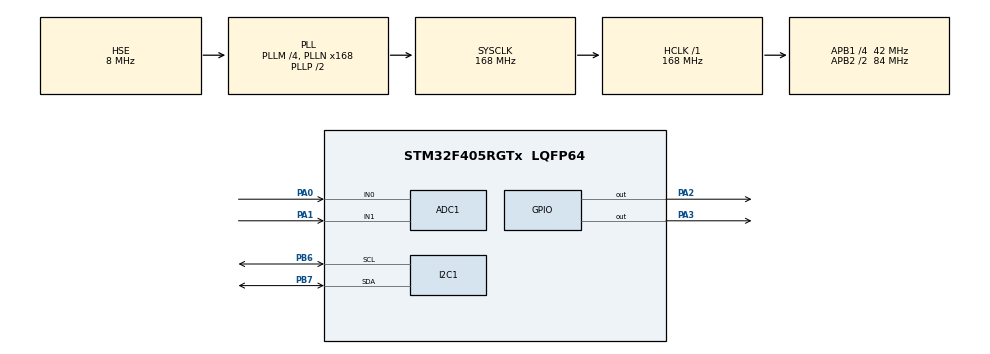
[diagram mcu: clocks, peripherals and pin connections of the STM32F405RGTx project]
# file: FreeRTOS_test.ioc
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ADC1.Channel-0\#ChannelRegularConversion=ADC_CHANNEL_0
ADC1.Channel-4\#ChannelRegularConversion=ADC_CHANNEL_1
ADC1.ContinuousConvMode=ENABLE
ADC1.DMAContinuousRequests=ENABLE
ADC1.EOCSelection=ADC_EOC_SEQ_CONV
ADC1.InjNumberOfConversion=0
ADC1.NbrOfConversion=2
ADC1.NbrOfConversionFlag=1
ADC1.Rank-0\#ChannelRegularConversion=1
ADC1.Rank-4\#ChannelRegularConversion=2
ADC1.SamplingTime-0\#ChannelRegularConversion=ADC_SAMPLETIME_3CYCLES
ADC1.SamplingTime-4\#ChannelRegularConversion=ADC_SAMPLETIME_3CYCLES
ADC1.master=1
Dma.ADC1.2.Direction=DMA_PERIPH_TO_MEMORY
Dma.ADC1.2.FIFOMode=DMA_FIFOMODE_DISABLE
Dma.ADC1.2.Instance=DMA2_Stream0
Dma.ADC1.2.MemDataAlignment=DMA_MDATAALIGN_WORD
Dma.ADC1.2.MemInc=DMA_MINC_ENABLE
Dma.ADC1.2.Mode=DMA_CIRCULAR
Dma.ADC1.2.PeriphDataAlignment=DMA_PDATAALIGN_WORD
Dma.ADC1.2.PeriphInc=DMA_PINC_DISABLE
Dma.ADC1.2.Priority=DMA_PRIORITY_LOW
Dma.I2C1_RX.0.Direction=DMA_PERIPH_TO_MEMORY
Dma.I2C1_RX.0.FIFOMode=DMA_FIFOMODE_DISABLE
Dma.I2C1_RX.0.Instance=DMA1_Stream0
Dma.I2C1_RX.0.MemDataAlignment=DMA_MDATAALIGN_BYTE
Dma.I2C1_RX.0.MemInc=DMA_MINC_ENABLE
Dma.I2C1_RX.0.Mode=DMA_NORMAL
Dma.I2C1_RX.0.PeriphDataAlignment=DMA_PDATAALIGN_BYTE
Dma.I2C1_RX.0.PeriphInc=DMA_PINC_DISABLE
Dma.I2C1_RX.0.Priority=DMA_PRIORITY_LOW
Dma.I2C1_TX.1.Direction=DMA_MEMORY_TO_PERIPH
Dma.I2C1_TX.1.FIFOMode=DMA_FIFOMODE_DISABLE
Dma.I2C1_TX.1.Instance=DMA1_Stream6
Dma.I2C1_TX.1.MemDataAlignment=DMA_MDATAALIGN_BYTE
Dma.I2C1_TX.1.MemInc=DMA_MINC_ENABLE
Dma.I2C1_TX.1.Mode=DMA_NORMAL
Dma.I2C1_TX.1.PeriphDataAlignment=DMA_PDATAALIGN_BYTE
Dma.I2C1_TX.1.PeriphInc=DMA_PINC_DISABLE
Dma.I2C1_TX.1.Priority=DMA_PRIORITY_LOW
Dma.Request0=I2C1_RX
Dma.Request1=I2C1_TX
Dma.Request2=ADC1
FREERTOS.Tasks01=YKC_OLED,0,128,StartDefaultTask,Default,NULL,Dynamic,NULL,NULL;HJY_OLED,-3,128,StartTask02,Default,NULL,Dynamic,NULL,NULL
I2C1.I2C_Mode=I2C_Fast
Mcu.Family=STM32F4
Mcu.Name=STM32F405RGTx
Mcu.Package=LQFP64
NVIC.ADC_IRQn=true\:5\:0\:false\:false\:true\:true\:true\:true
NVIC.DMA1_Stream0_IRQn=true\:5\:0\:false\:false\:true\:true\:false\:true
NVIC.DMA1_Stream6_IRQn=true\:5\:0\:false\:false\:true\:true\:false\:true
NVIC.DMA2_Stream0_IRQn=true\:5\:0\:false\:false\:true\:true\:false\:true
NVIC.I2C1_ER_IRQn=true\:5\:0\:false\:false\:true\:true\:true\:true
NVIC.I2C1_EV_IRQn=true\:5\:0\:false\:false\:true\:true\:true\:true
NVIC.PriorityGroup=NVIC_PRIORITYGROUP_4
NVIC.TIM8_TRG_COM_TIM14_IRQn=true\:0\:0\:false\:false\:true\:false\:false\:true
NVIC.TimeBase=TIM8_TRG_COM_TIM14_IRQn
NVIC.TimeBaseIP=TIM14
PA0-WKUP.Signal=ADCx_IN0
PA1.Signal=ADCx_IN1
PA13.Mode=Serial_Wire
PA13.Signal=SYS_JTMS-SWDIO
PA14.Mode=Serial_Wire
PA14.Signal=SYS_JTCK-SWCLK
PA2.Signal=GPIO_Output
PA3.Signal=GPIO_Output
PB6.Mode=I2C
PB6.Signal=I2C1_SCL
PB7.Mode=I2C
PB7.Signal=I2C1_SDA
PH0-OSC_IN.Mode=HSE-External-Oscillator
PH0-OSC_IN.Signal=RCC_OSC_IN
PH1-OSC_OUT.Mode=HSE-External-Oscillator
PH1-OSC_OUT.Signal=RCC_OSC_OUT
ProjectManager.HeapSize=0x200
ProjectManager.StackSize=0x400
ProjectManager.TargetToolchain=MDK-ARM V5
RCC.48MHZClocksFreq_Value=84000000
RCC.AHBFreq_Value=168000000
RCC.APB1CLKDivider=RCC_HCLK_DIV4
RCC.APB1Freq_Value=42000000
RCC.APB1TimFreq_Value=84000000
RCC.APB2CLKDivider=RCC_HCLK_DIV2
RCC.APB2Freq_Value=84000000
RCC.APB2TimFreq_Value=168000000
RCC.CortexFreq_Value=168000000
RCC.HCLKFreq_Value=168000000
RCC.HSE_VALUE=8000000
RCC.HSI_VALUE=16000000
RCC.LSE_VALUE=32768
RCC.PLLM=4
RCC.PLLN=168
RCC.PLLSourceVirtual=RCC_PLLSOURCE_HSE
RCC.SYSCLKFreq_VALUE=168000000
RCC.SYSCLKSource=RCC_SYSCLKSOURCE_PLLCLK
RCC.VCOOutputFreq_Value=336000000
SH.ADCx_IN0.0=ADC1_IN0,IN0
SH.ADCx_IN1.0=ADC1_IN1,IN1
VP_FREERTOS_VS_CMSIS_V1.Mode=CMSIS_V1
VP_SYS_VS_tim14.Mode=TIM14
board=custom

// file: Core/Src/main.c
/* USER CODE BEGIN Header */
/**
  ******************************************************************************
  * @file           : main.c
  * @brief          : Main program body
  ******************************************************************************
  * @attention
  *
  * <h2><center>&copy; Copyright (c) 2021 STMicroelectronics.
  * All rights reserved.</center></h2>
  *
  * This software component is licensed by ST under Ultimate Liberty license
  * SLA0044, the "License"; You may not use this file except in compliance with
  * the License. You may obtain a copy of the License at:
  *                             www.st.com/SLA0044
  *
  ******************************************************************************
  */
/* USER CODE END Header */
#include "main.h"
#include "cmsis_os.h"
#include "adc.h"
#include "dma.h"
#include "i2c.h"
#include "gpio.h"

/* USER CODE BEGIN Includes */
#include "oled.h"
#include "bmp.h"
/* USER CODE END Includes */

/* USER CODE BEGIN PTD */
uint32_t AD_TwoChanel_value[2];
extern uint8_t OLED_1_data[8][128];
/* USER CODE END PTD */

void SystemClock_Config(void);
void MX_FREERTOS_Init(void);

int main(void)
{

  /* MCU Configuration--------------------------------------------------------*/

  /* Reset of all peripherals, Initializes the Flash interface and the Systick. */
  HAL_Init();

  /* Configure the system clock */
  SystemClock_Config();

  /* Initialize all configured peripherals */
  MX_GPIO_Init();
  MX_DMA_Init();
  MX_ADC1_Init();
  MX_I2C1_Init();
  /* USER CODE BEGIN 2 */
	OLED_Init();
	//HAL_ADC_Start_DMA(&hadc1,(uint32_t*)&AD_TwoChanel_value,2);
  /* USER CODE END 2 */

  /* Call init function for freertos objects (in freertos.c) */
  MX_FREERTOS_Init();
  /* Start scheduler */
  osKernelStart();

  /* We should never get here as control is now taken by the scheduler */
  /* Infinite loop */
  while (1)
  {

  }
}

void SystemClock_Config(void)
{
  RCC_OscInitTypeDef RCC_OscInitStruct = {0};
  RCC_ClkInitTypeDef RCC_ClkInitStruct = {0};

  /** Configure the main internal regulator output voltage
  */
  __HAL_RCC_PWR_CLK_ENABLE();
  __HAL_PWR_VOLTAGESCALING_CONFIG(PWR_REGULATOR_VOLTAGE_SCALE1);
  /** Initializes the RCC Oscillators according to the specified parameters
  * in the RCC_OscInitTypeDef structure.
  */
  RCC_OscInitStruct.OscillatorType = RCC_OSCILLATORTYPE_HSE;
  RCC_OscInitStruct.HSEState = RCC_HSE_ON;
  RCC_OscInitStruct.PLL.PLLState = RCC_PLL_ON;
  RCC_OscInitStruct.PLL.PLLSource = RCC_PLLSOURCE_HSE;
  RCC_OscInitStruct.PLL.PLLM = 4;
  RCC_OscInitStruct.PLL.PLLN = 168;
  RCC_OscInitStruct.PLL.PLLP = RCC_PLLP_DIV2;
  RCC_OscInitStruct.PLL.PLLQ = 4;
  if (HAL_RCC_OscConfig(&RCC_OscInitStruct) != HAL_OK)
  {
    Error_Handler();
  }
  /** Initializes the CPU, AHB and APB buses clocks
  */
  RCC_ClkInitStruct.ClockType = RCC_CLOCKTYPE_HCLK|RCC_CLOCKTYPE_SYSCLK
                              |RCC_CLOCKTYPE_PCLK1|RCC_CLOCKTYPE_PCLK2;
  RCC_ClkInitStruct.SYSCLKSource = RCC_SYSCLKSOURCE_PLLCLK;
  RCC_ClkInitStruct.AHBCLKDivider = RCC_SYSCLK_DIV1;
  RCC_ClkInitStruct.APB1CLKDivider = RCC_HCLK_DIV4;
  RCC_ClkInitStruct.APB2CLKDivider = RCC_HCLK_DIV2;

  if (HAL_RCC_ClockConfig(&RCC_ClkInitStruct, FLASH_LATENCY_5) != HAL_OK)
  {
    Error_Handler();
  }
}

 /**
  * @brief  Period elapsed callback in non blocking mode
  * @note   This function is called  when TIM14 interrupt took place, inside
  * HAL_TIM_IRQHandler(). It makes a direct call to HAL_IncTick() to increment
  * a global variable "uwTick" used as application time base.
  * @param  htim : TIM handle
  * @retval None
  */
void HAL_TIM_PeriodElapsedCallback(TIM_HandleTypeDef *htim)
{
  if (htim->Instance == TIM14) {
    HAL_IncTick();
  }
}

void Error_Handler(void)
{
  __disable_irq();
  while (1)
  {
  }
}

/************************ (C) COPYRIGHT STMicroelectronics *****END OF FILE****/

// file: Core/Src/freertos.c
/* USER CODE BEGIN Header */
/**
  ******************************************************************************
  * File Name          : freertos.c
  * Description        : Code for freertos applications
  ******************************************************************************
  * @attention
  *
  * <h2><center>&copy; Copyright (c) 2021 STMicroelectronics.
  * All rights reserved.</center></h2>
  *
  * This software component is licensed by ST under Ultimate Liberty license
  * SLA0044, the "License"; You may not use this file except in compliance with
  * the License. You may obtain a copy of the License at:
  *                             www.st.com/SLA0044
  *
  ******************************************************************************
  */
/* USER CODE END Header */

#include "FreeRTOS.h"
#include "task.h"
#include "main.h"
#include "cmsis_os.h"

/* USER CODE BEGIN Includes */
#include "oled.h"
#include "stdio.h"
#include "math.h"
/* USER CODE END Includes */

/* USER CODE BEGIN PTD */
extern uint32_t AD_TwoChanel_value[2];
extern uint8_t OLED_1_data[8][128];
/* USER CODE END PTD */

osThreadId YKC_OLEDHandle;
osThreadId HJY_OLEDHandle;
osThreadId Task_OLED_refreHandle;

void StartDefaultTask(void const * argument);
void StartTask02(void const * argument);
void StartTask_OLED_refresh(void const * argument);

void MX_FREERTOS_Init(void); /* (MISRA C 2004 rule 8.1) */

/* GetIdleTaskMemory prototype (linked to static allocation support) */
void vApplicationGetIdleTaskMemory( StaticTask_t **ppxIdleTaskTCBBuffer, StackType_t **ppxIdleTaskStackBuffer, uint32_t *pulIdleTaskStackSize );

/* USER CODE BEGIN GET_IDLE_TASK_MEMORY */
static StaticTask_t xIdleTaskTCBBuffer;
static StackType_t xIdleStack[configMINIMAL_STACK_SIZE];

void vApplicationGetIdleTaskMemory( StaticTask_t **ppxIdleTaskTCBBuffer, StackType_t **ppxIdleTaskStackBuffer, uint32_t *pulIdleTaskStackSize )
{
  *ppxIdleTaskTCBBuffer = &xIdleTaskTCBBuffer;
  *ppxIdleTaskStackBuffer = &xIdleStack[0];
  *pulIdleTaskStackSize = configMINIMAL_STACK_SIZE;
  /* place for user code */
}
/* USER CODE END GET_IDLE_TASK_MEMORY */

void MX_FREERTOS_Init(void) {

  /* Create the thread(s) */
  /* definition and creation of YKC_OLED */
  osThreadDef(YKC_OLED, StartDefaultTask, osPriorityNormal, 0, 128);
  YKC_OLEDHandle = osThreadCreate(osThread(YKC_OLED), NULL);

  /* definition and creation of HJY_OLED */
  osThreadDef(HJY_OLED, StartTask02, osPriorityIdle, 0, 128);
  HJY_OLEDHandle = osThreadCreate(osThread(HJY_OLED), NULL);

 /* definition and creation of Task_OLED_refre */
  osThreadDef(Task_OLED_refre, StartTask_OLED_refresh, osPriorityLow, 0, 128);
  Task_OLED_refreHandle = osThreadCreate(osThread(Task_OLED_refre), NULL);

}

void OLED_ShowPixel(uint8_t x,uint8_t y)
{
	OLED_1_data[y/8][x]|=0x01<<(y%8);
}

//x0负责上下，y0负责左右
void draw_circle(uint8_t x0,uint8_t y0,uint8_t r) //圆心(x0,y0),半径r
{
		uint8_t x = 0,y = 0,R = 0;
		for(x = x0-r;x <= x0+r;x++){
			for(y = y0-r; y <= y0+r ;y++ ){
				R = sqrt(pow(r,2)-pow(x-x0,2))+y0; //圆方程  x,y反置
				if( (y >= y0 && y <= R) || (y < y0 && y >= 2*y0-R )) {  //点限制在 圆方程内
					OLED_ShowPixel(y,x);
				}
			}
		}

}

void StartDefaultTask(void const * argument)
{
  /* USER CODE BEGIN StartDefaultTask */
  /* Infinite loop */
  for(;;)
  {
//	for(uint8_t x = 32;x <= 64;x++){
//	OLED_Clear(OLED_1 );
	draw_circle(32,64,32);
	OLED_ShowString(OLED_1,6,4,"world of wonder",8);
	OLED_Refreash();//40hz屏幕刷新
//	}
  }

  /* USER CODE END StartDefaultTask */
}

void StartTask02(void const * argument)
{
  /* USER CODE BEGIN StartTask02 */
  /* Infinite loop */
  for(;;)
  {
    osDelay(100);
    HAL_GPIO_TogglePin(GPIOA ,GPIO_PIN_3);
    uint8_t buff[]="";
    snprintf((char*)buff,60,"%d",AD_TwoChanel_value[0]);
    OLED_Clear(OLED_2);
    OLED_ShowString(OLED_2,0,3,(char*)buff,16);
	OLED_Refreash();//40hz屏幕刷新
  }
  /* USER CODE END StartTask02 */
}

void StartTask_OLED_refresh(void const * argument)
{
  /* USER CODE BEGIN StartTask_OLED_refresh */
  /* Infinite loop */
  for(;;)
  {
    osDelay(25);
    OLED_Refreash();//40hz屏幕刷新
  }
  /* USER CODE END StartTask_OLED_refresh */
}

/************************ (C) COPYRIGHT STMicroelectronics *****END OF FILE****/
